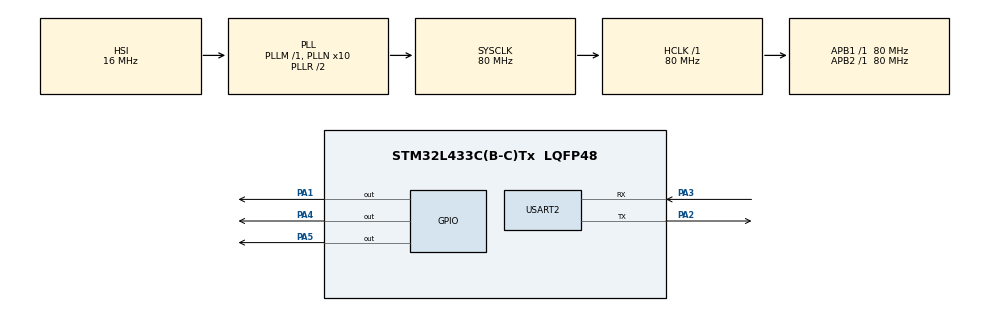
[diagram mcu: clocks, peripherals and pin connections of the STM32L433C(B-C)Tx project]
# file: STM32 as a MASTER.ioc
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Mcu.Family=STM32L4
Mcu.Name=STM32L433C(B-C)Tx
Mcu.Package=LQFP48
NVIC.PriorityGroup=NVIC_PRIORITYGROUP_4
NVIC.USART2_IRQn=true\:0\:0\:false\:false\:true\:true\:true\:true
PA1.Signal=GPIO_Output
PA13\ (JTMS-SWDIO).Mode=Serial_Wire
PA13\ (JTMS-SWDIO).Signal=SYS_JTMS-SWDIO
PA14\ (JTCK-SWCLK).Mode=Serial_Wire
PA14\ (JTCK-SWCLK).Signal=SYS_JTCK-SWCLK
PA2.Mode=Asynchronous
PA2.Signal=USART2_TX
PA3.Mode=Asynchronous
PA3.Signal=USART2_RX
PA4.Signal=GPIO_Output
PA5.Signal=GPIO_Output
PH0-OSC_IN\ (PH0).Mode=HSE-External-Oscillator
PH0-OSC_IN\ (PH0).Signal=RCC_OSC_IN
PH1-OSC_OUT\ (PH1).Mode=HSE-External-Oscillator
PH1-OSC_OUT\ (PH1).Signal=RCC_OSC_OUT
ProjectManager.HeapSize=0x200
ProjectManager.StackSize=0x400
ProjectManager.TargetToolchain=STM32CubeIDE
RCC.ADCFreq_Value=64000000
RCC.AHBFreq_Value=80000000
RCC.APB1Freq_Value=80000000
RCC.APB1TimFreq_Value=80000000
RCC.APB2Freq_Value=80000000
RCC.APB2TimFreq_Value=80000000
RCC.CortexFreq_Value=80000000
RCC.HCLKFreq_Value=80000000
RCC.HSE_VALUE=8000000
RCC.HSI48_VALUE=48000000
RCC.HSI_VALUE=16000000
RCC.LSE_VALUE=32768
RCC.MSI_VALUE=4000000
RCC.PLLN=10
RCC.PLLSourceVirtual=RCC_PLLSOURCE_HSI
RCC.SYSCLKFreq_VALUE=80000000
RCC.SYSCLKSource=RCC_SYSCLKSOURCE_PLLCLK
RCC.USBFreq_Value=64000000
RCC.VCOOutputFreq_Value=160000000
USART2.VirtualMode-Asynchronous=VM_ASYNC
board=custom

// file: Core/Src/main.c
/* USER CODE BEGIN Header */
/**
  ******************************************************************************
  * @file           : main.c
  * @brief          : Main program body
  ******************************************************************************
  * @attention
  *
  * Copyright (c) 2023 STMicroelectronics.
  * All rights reserved.
  *
  * This software is licensed under terms that can be found in the LICENSE file
  * in the root directory of this software component.
  * If no LICENSE file comes with this software, it is provided AS-IS.
  *
  ******************************************************************************
  */
/* USER CODE END Header */
#include "main.h"

/* USER CODE BEGIN Includes */
#include "modbus_crc.h"
#include<stdio.h>
/* USER CODE END Includes */

UART_HandleTypeDef huart2;

void SystemClock_Config(void);
static void MX_GPIO_Init(void);
static void MX_USART2_UART_Init(void);

/* USER CODE BEGIN 0 */
int _write(int file, char *ptr, int len)
{
  int i=0;
  for(i=0 ; i<len ;i++)
	  ITM_SendChar((*ptr++));
  return len;
}

uint8_t TxData[8];
uint8_t RxData[32];
//uint8_t Data[10];

/*void HAL_UARTEx_RxEventCallback(UART_HandleTypeDef *huart, uint16_t Size)
{
  //later
}*/

/*void HAL_UARTEx_RxEventCallback(UART_HandleTypeDef *huart, uint16_t Size)
{
	Data[0] = RxData[3]<<8 | RxData[4];
	Data[1] = RxData[5]<<8 | RxData[6];
	Data[2] = RxData[7]<<8 | RxData[8];
	Data[3] = RxData[9]<<8 | RxData[10];
	Data[4] = RxData[11]<<8 | RxData[12];
}*/

void sendData(uint8_t *data)
{
	for(int i=0; i<=sizeof(TxData); i++)
	  {
		  printf("data= %d",data[i]);
	  }
	printf("\n");
	HAL_GPIO_WritePin(GPIOA, GPIO_PIN_5, GPIO_PIN_SET);

	HAL_UART_Transmit(&huart2 , data, 8, 1000);

	HAL_GPIO_WritePin(GPIOA, GPIO_PIN_5, GPIO_PIN_RESET);
}
/* USER CODE END 0 */

int main(void)
{

  /* MCU Configuration--------------------------------------------------------*/

  /* Reset of all peripherals, Initializes the Flash interface and the Systick. */
  HAL_Init();

  /* Configure the system clock */
  SystemClock_Config();

  /* Initialize all configured peripherals */
  printf("Hello\n");
  MX_GPIO_Init();
  MX_USART2_UART_Init();
  /* USER CODE BEGIN 2 */
  HAL_UARTEx_ReceiveToIdle_IT(&huart2, RxData, 32);  // HAL_UARTEx_ReceiveToIdle_IT

  TxData[0] = 0x11;  // slave address
  TxData[1] = 0x03;  // Function code for Read Input Registers

  TxData[2] = 0;
  TxData[3] = 0x04;  //The Register address will be 00000000 00000001 = 4 +30001 = 30005

  TxData[4] = 0;
  TxData[5] = 0x03; // no of registers to read will be 00000000 00000101 = 4 Registers = 8 Bytes

  uint16_t crc = crc16(TxData, 6);
  //char crc = crc16(TxData, 6);
  TxData[6] = crc&0xFF;         // CRC LOW
  TxData[7] = (crc>>8) & 0xFF;  // CRC HIGH

  sendData(TxData);
  for(int i=0; i<=sizeof(TxData); i++)
  {
	  printf("\n%d\n",TxData[i]);
  }
  printf("\n");
  HAL_UART_Receive(&huart2, RxData, 32,1000);
 // printf("V=HAL_UAR= %d\n,",RxData);
  for(int i=0; i<=sizeof(RxData); i++)
    {
  	  printf("%d\n",RxData[i]);
  	  HAL_Delay(100);
    }
 // HAL_UART_Receive(&huart2, RxData, 32);
  /*for(int i=0; i<=100; i++)
    {
  	  printf("RxDData=%c",RxData[i]);
    }*/
  HAL_Delay(2000);
  /* USER CODE END 2 */

  /* Infinite loop */
  while (1)
  {

    /* USER CODE BEGIN 3 */
	 // sendData(TxData);

	   // HAL_UARTEx_ReceiveToIdle_IT(&huart2, RxData, 32);
  }
  /* USER CODE END 3 */
}

void SystemClock_Config(void)
{
  RCC_OscInitTypeDef RCC_OscInitStruct = {0};
  RCC_ClkInitTypeDef RCC_ClkInitStruct = {0};

  /** Configure the main internal regulator output voltage
  */
  if (HAL_PWREx_ControlVoltageScaling(PWR_REGULATOR_VOLTAGE_SCALE1) != HAL_OK)
  {
    Error_Handler();
  }

  /** Initializes the RCC Oscillators according to the specified parameters
  * in the RCC_OscInitTypeDef structure.
  */
  RCC_OscInitStruct.OscillatorType = RCC_OSCILLATORTYPE_HSI;
  RCC_OscInitStruct.HSIState = RCC_HSI_ON;
  RCC_OscInitStruct.HSICalibrationValue = RCC_HSICALIBRATION_DEFAULT;
  RCC_OscInitStruct.PLL.PLLState = RCC_PLL_ON;
  RCC_OscInitStruct.PLL.PLLSource = RCC_PLLSOURCE_HSI;
  RCC_OscInitStruct.PLL.PLLM = 1;
  RCC_OscInitStruct.PLL.PLLN = 10;
  RCC_OscInitStruct.PLL.PLLP = RCC_PLLP_DIV7;
  RCC_OscInitStruct.PLL.PLLQ = RCC_PLLQ_DIV2;
  RCC_OscInitStruct.PLL.PLLR = RCC_PLLR_DIV2;
  if (HAL_RCC_OscConfig(&RCC_OscInitStruct) != HAL_OK)
  {
    Error_Handler();
  }

  /** Initializes the CPU, AHB and APB buses clocks
  */
  RCC_ClkInitStruct.ClockType = RCC_CLOCKTYPE_HCLK|RCC_CLOCKTYPE_SYSCLK
                              |RCC_CLOCKTYPE_PCLK1|RCC_CLOCKTYPE_PCLK2;
  RCC_ClkInitStruct.SYSCLKSource = RCC_SYSCLKSOURCE_PLLCLK;
  RCC_ClkInitStruct.AHBCLKDivider = RCC_SYSCLK_DIV1;
  RCC_ClkInitStruct.APB1CLKDivider = RCC_HCLK_DIV1;
  RCC_ClkInitStruct.APB2CLKDivider = RCC_HCLK_DIV1;

  if (HAL_RCC_ClockConfig(&RCC_ClkInitStruct, FLASH_LATENCY_4) != HAL_OK)
  {
    Error_Handler();
  }
}

static void MX_USART2_UART_Init(void)
{

  huart2.Instance = USART2;
  huart2.Init.BaudRate = 115200;
  huart2.Init.WordLength = UART_WORDLENGTH_8B;
  huart2.Init.StopBits = UART_STOPBITS_1;
  huart2.Init.Parity = UART_PARITY_NONE;
  huart2.Init.Mode = UART_MODE_TX_RX;
  huart2.Init.HwFlowCtl = UART_HWCONTROL_NONE;
  huart2.Init.OverSampling = UART_OVERSAMPLING_16;
  huart2.Init.OneBitSampling = UART_ONE_BIT_SAMPLE_DISABLE;
  huart2.AdvancedInit.AdvFeatureInit = UART_ADVFEATURE_NO_INIT;
  if (HAL_UART_Init(&huart2) != HAL_OK)
  {
    Error_Handler();
  }

}

static void MX_GPIO_Init(void)
{
  GPIO_InitTypeDef GPIO_InitStruct = {0};

  /* GPIO Ports Clock Enable */
  __HAL_RCC_GPIOH_CLK_ENABLE();
  __HAL_RCC_GPIOA_CLK_ENABLE();

  /*Configure GPIO pin Output Level */
  HAL_GPIO_WritePin(GPIOA, GPIO_PIN_1|GPIO_PIN_4|GPIO_PIN_5, GPIO_PIN_RESET);

  /*Configure GPIO pins : PA1 PA4 PA5 */
  GPIO_InitStruct.Pin = GPIO_PIN_1|GPIO_PIN_4|GPIO_PIN_5;
  GPIO_InitStruct.Mode = GPIO_MODE_OUTPUT_PP;
  GPIO_InitStruct.Pull = GPIO_NOPULL;
  GPIO_InitStruct.Speed = GPIO_SPEED_FREQ_LOW;
  HAL_GPIO_Init(GPIOA, &GPIO_InitStruct);

}

void Error_Handler(void)
{
  __disable_irq();
  while (1)
  {
  }
}
